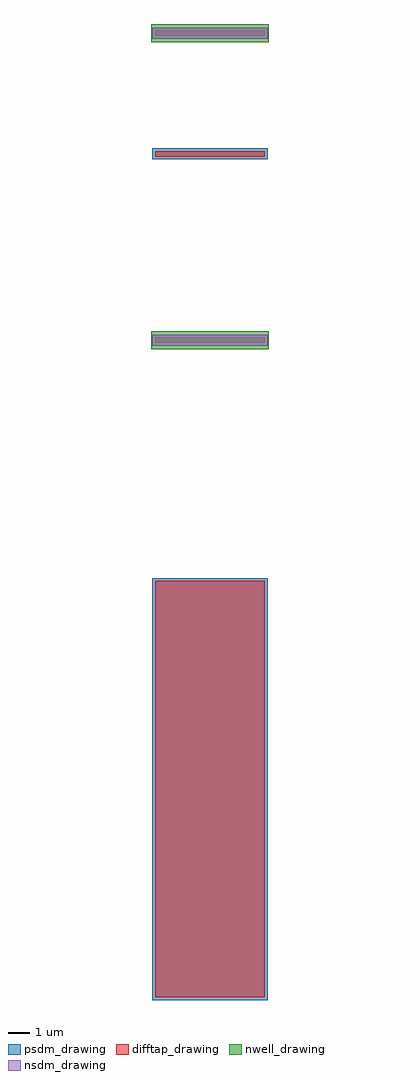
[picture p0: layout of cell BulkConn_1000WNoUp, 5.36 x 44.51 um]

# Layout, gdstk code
import gdstk
lib = gdstk.Library(unit=1e-6, precision=1e-09)
def R(c, l, rs):  # rectangles x0, y0, x1, y1
    for r in rs: c.add(gdstk.rectangle(r[:2], r[2:], *l))
nwell_drawing = (64, 20)
difftap_drawing = (65, 20)
nsdm_drawing = (93, 44)
psdm_drawing = (94, 20)

bulkconn_1000wnoup = lib.new_cell('BulkConn_1000WNoUp')
R(bulkconn_1000wnoup, nwell_drawing, [(-0.18,-0.42,5.18,0.42), (-0.18,13.58,5.18,14.42)])
R(bulkconn_1000wnoup, difftap_drawing, [(0,-29.96,5,-10.975), (0,-0.125,5,0.125), (0,8.375,5,8.625), (0,13.875,5,14.125)])
R(bulkconn_1000wnoup, nsdm_drawing, [(-0.125,-0.25,5.125,0.25), (-0.125,13.75,5.125,14.25)])
R(bulkconn_1000wnoup, psdm_drawing, [(-0.125,-30.085,5.125,-10.85), (-0.125,8.25,5.125,8.75)])

lib.write_gds('BulkConn_1000WNoUp.gds')
